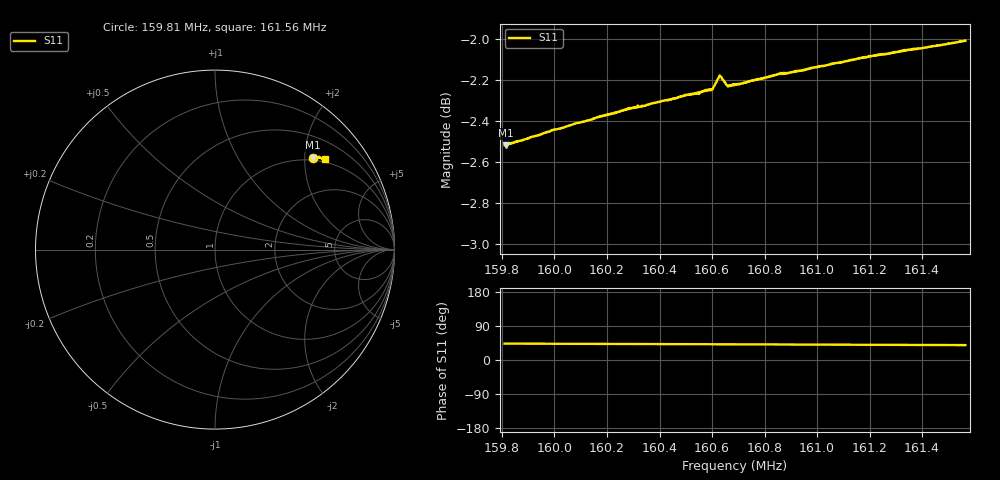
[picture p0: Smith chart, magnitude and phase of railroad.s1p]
! Calibrated averaged scanner-service zoom
# Hz S RI R 50
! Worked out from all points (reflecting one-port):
!   1001 points, 159.81 MHz to 161.56 MHz, reference 50 ohm
!   lowest |S11| = -2.5 dB at 159.81 MHz (marker M1), VSWR 6.94, Z = 46.8 + j109 ohm
!   phase of S11 starts at 43 deg and turns -4 deg over the sweep
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1.5981e8  0.5448 0.5129
1.598135e8  0.5449 0.5127
1.599644e8  0.5516 0.5135
1.59996e8  0.5533 0.5134
1.600294e8  0.5545 0.5133
1.601347e8  0.5591 0.5132
1.601715e8  0.5606 0.5139
1.602488e8  0.5637 0.5134
1.602874e8  0.5658 0.5135
1.604049e8  0.57 0.513
1.604681e8  0.5729 0.5123
1.604927e8  0.5737 0.5126
1.605962e8  0.5776 0.5118
1.60605e8  0.5785 0.5127
1.606226e8  0.58 0.5165
1.606296e8  0.5806 0.518
1.606366e8  0.5807 0.5166
1.606524e8  0.58 0.513
1.606612e8  0.58 0.5115
1.606875e8  0.5812 0.5115
1.608226e8  0.5869 0.5104
1.608612e8  0.588 0.5114
1.608858e8  0.5889 0.5099
1.609069e8  0.5899 0.5097
1.611262e8  0.5986 0.5076
1.61207e8  0.6018 0.5066
1.613456e8  0.6064 0.5049
1.61565e8  0.6139 0.5024
